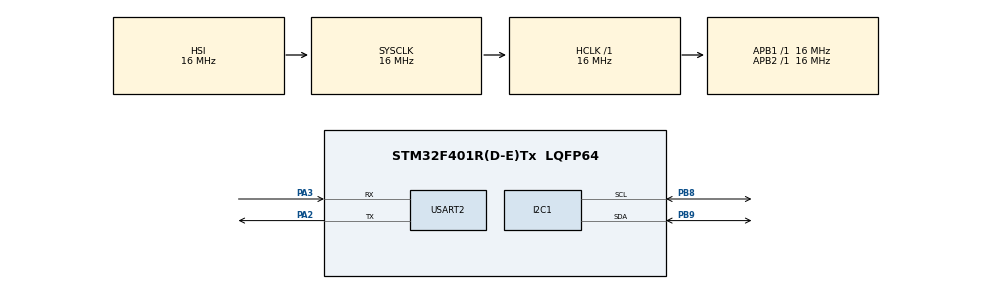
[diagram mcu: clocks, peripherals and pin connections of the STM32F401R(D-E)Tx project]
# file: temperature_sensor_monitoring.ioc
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I2C1.I2C_Mode=I2C_Fast
Mcu.Family=STM32F4
Mcu.Name=STM32F401R(D-E)Tx
Mcu.Package=LQFP64
NVIC.PriorityGroup=NVIC_PRIORITYGROUP_4
NVIC.RTC_WKUP_IRQn=true\:0\:0\:false\:false\:true\:true\:true\:true
PA0-WKUP.Mode=SYS_WakeUp0
PA0-WKUP.Signal=SYS_WKUP
PA2.Mode=Asynchronous
PA2.Signal=USART2_TX
PA3.Mode=Asynchronous
PA3.Signal=USART2_RX
PB8.Mode=I2C
PB8.Signal=I2C1_SCL
PB9.Mode=I2C
PB9.Signal=I2C1_SDA
ProjectManager.HeapSize=0x200
ProjectManager.StackSize=0x400
ProjectManager.TargetToolchain=STM32CubeIDE
RCC.AHBFreq_Value=16000000
RCC.APB1Freq_Value=16000000
RCC.APB2Freq_Value=16000000
RCC.CortexFreq_Value=16000000
RCC.HSE_VALUE=25000000
RCC.HSI_VALUE=16000000
RCC.LSE_VALUE=32768
RCC.SYSCLKFreq_VALUE=16000000
RCC.VCOOutputFreq_Value=192000000
RTC.Hours=23
RTC.Minutes=59
RTC.Seconds=59
RTC.WakeUpClock=RTC_WAKEUPCLOCK_CK_SPRE_17BITS
RTC.WakeUpCounter=0
USART2.VirtualMode=VM_ASYNC
VP_RTC_VS_RTC_Activate.Mode=RTC_Enabled
VP_RTC_VS_RTC_Calendar.Mode=RTC_Calendar
VP_RTC_VS_RTC_WakeUp_intern.Mode=WakeUp
board=custom

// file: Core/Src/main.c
/* USER CODE BEGIN Header */
/**
  ******************************************************************************
  * @file           : main.c
  * @brief          : Main program body
  ******************************************************************************
  * @attention
  *
  * <h2><center>&copy; Copyright (c) 2022 STMicroelectronics.
  * All rights reserved.</center></h2>
  *
  * This software component is licensed by ST under BSD 3-Clause license,
  * the "License"; You may not use this file except in compliance with the
  * License. You may obtain a copy of the License at:
  *                        opensource.org/licenses/BSD-3-Clause
  *
  ******************************************************************************
  */
/* USER CODE END Header */
#include "main.h"
#include "i2c.h"
#include "rtc.h"
#include "usart.h"
#include "gpio.h"

/* USER CODE BEGIN PTD */
#define MCP9808_ADRESS 				0x18 //adress of MCP9808
#define MCP9808_AMBIANT_REG_ADDR 	0x05 //adress of ambiant temperature register
#define MCP9808_RESOL_REG_ADRR		0x08 //adress of resolution register
#define MCP9808_SENS_CONF_REG_ADDR 	0x01 //adress of sensor configuration register
#define MCP9808_UPPER_REG_ADRR		0x02 //adress of upper temperature limit register
#define MCP9808_LOWER_REG_ADRR		0x03 //adress of lower temperature limit register
/* USER CODE END PTD */

void SystemClock_Config(void);

int main(void)
{
  /* USER CODE BEGIN 1 */
	HAL_StatusTypeDef status;

	uint16_t MCP9808_adress = MCP9808_ADRESS << 1; // 0b011000 = 0x18 on décale de 1 car code sur 7 bits
	uint8_t receive_buffer[2] = {0};//buffer ou on recoit les donnees de I2C
	uint8_t transmit_data = MCP9808_AMBIANT_REG_ADDR;
	uint8_t	register_config[3];

	/*Config de la precision (resolution) à 0.25°C*/
	register_config[0] = MCP9808_RESOL_REG_ADRR;
	register_config[1] = 0x01; //bit for 0.25°C resolution
	HAL_I2C_Master_Transmit(&hi2c1, MCP9808_adress, &register_config, (uint16_t) 2, HAL_MAX_DELAY);

	/*Config de l'hysteresis à 1.5°C*/
	register_config[0] = MCP9808_SENS_CONF_REG_ADDR;
	register_config[1] = 0b010; //bit for 1.5°C hysteresis
	HAL_I2C_Master_Transmit(&hi2c1, MCP9808_adress, &register_config, (uint16_t) 3, HAL_MAX_DELAY);

	/*Config lower temperature limit to 24°C*/
	register_config[0] = MCP9808_LOWER_REG_ADRR;//24 = 2^4 + 2^3
	register_config[1] = 0b01; // bit 8 correspondant a 2^4 °C
	register_config[2] = 0b10000000; //bit 7 correspondnat a 2^3 °C, bit 5 correspondant a 2^1°c et bit 4 a 2^0°C
	HAL_I2C_Master_Transmit(&hi2c1, MCP9808_adress, &register_config, (uint16_t) 3, HAL_MAX_DELAY);

	/*Config upper temperature limit to 27°C*/
	register_config[0] = MCP9808_UPPER_REG_ADRR;//27 = 2^4 + 2^3 + 2^1 + 2^0
	register_config[1] = 0b01; // bit 8 correspondant a 2^4 °C
	register_config[2] = 0b10110000; //bit 7 correspondnat a 2^3 °C
	HAL_I2C_Master_Transmit(&hi2c1, MCP9808_adress, &register_config, (uint16_t) 3, HAL_MAX_DELAY);

	/*Config alert*/
	register_config[0] = MCP9808_SENS_CONF_REG_ADDR;
	register_config[2] = 0b011010;//config alert mode
	HAL_I2C_Master_Transmit(&hi2c1, MCP9808_adress, &register_config, (uint16_t) 3, HAL_MAX_DELAY);

  /* USER CODE END 1 */

  /* MCU Configuration--------------------------------------------------------*/

  /* Reset of all peripherals, Initializes the Flash interface and the Systick. */
  HAL_Init();

  /* Configure the system clock */
  SystemClock_Config();

  /* Initialize all configured peripherals */
  MX_GPIO_Init();
  MX_I2C1_Init();
  MX_USART2_UART_Init();
  MX_RTC_Init();
  /* USER CODE BEGIN 2 */

  //Check if woken up from standby mode:
  if (__HAL_PWR_GET_FLAG(PWR_FLAG_SB) != RESET)
  {
      __HAL_PWR_CLEAR_FLAG(PWR_FLAG_SB);  // clear the flag

      char* message = "Waking up from the standby mode\r\n";
      HAL_UART_Transmit(&huart2, (uint8_t*) message, (uint16_t) strlen(message) , HAL_MAX_DELAY);

      HAL_PWR_DisableWakeUpPin(PWR_WAKEUP_PIN1);

      HAL_RTCEx_DeactivateWakeUpTimer(&hrtc);
  }

  //Clear the WU flag
  __HAL_PWR_CLEAR_FLAG(PWR_FLAG_WU);
  __HAL_RTC_WAKEUPTIMER_CLEAR_FLAG(&hrtc, RTC_FLAG_WUTF);

  HAL_PWR_EnableWakeUpPin(PWR_WAKEUP_PIN1);
  /**
   * activate rtc wake up from stand by mode
   * RTC_WAKEUPCLOCK_CK_SPRE_16BITS is a clock on 16 bits of frequence 1Hz
   * So we can set the WakeUpCounter to 10 as 10s
   */
  HAL_RTCEx_SetWakeUpTimer_IT(&hrtc, 10, RTC_WAKEUPCLOCK_CK_SPRE_16BITS);

  //---------------------------------------------------------------------------------------------------------------------------------
  // LECTURE DE LA TEMPERATURE

  status = HAL_I2C_Master_Transmit(&hi2c1, MCP9808_adress, &transmit_data, (uint16_t) 1, HAL_MAX_DELAY);

  if ( status != HAL_OK )
  {
	  char* message = "Error start\r\n";
	  HAL_UART_Transmit(&huart2, (uint8_t*) message, (uint16_t) strlen(message) , HAL_MAX_DELAY);
  }
  else
  {
	  status = HAL_I2C_Master_Receive(&hi2c1, MCP9808_adress, receive_buffer, (uint16_t) 2, HAL_MAX_DELAY);

	  if ( status != HAL_OK )
	  {
		  char* message = "Error master receive\r\n";
		  HAL_UART_Transmit(&huart2, (uint8_t*) message, (uint16_t) strlen(message), HAL_MAX_DELAY);
	  }
	  else
	  {
		  float temperature=0;
		  float f_temp[2]; //pour convertir les valeurs de receive_buffer en float

		  receive_buffer[0] &= 0x1F;
		  if((receive_buffer[0] & 0x10) == 0x10)
		  {
			  receive_buffer[0] &= 0x0F;
			  temperature -= 256;
		  }
		  f_temp[0] = receive_buffer[0];
		  f_temp[1] = receive_buffer[1];
		  temperature += (f_temp[0] * 16 + f_temp[1] / 16);

		  char message[256];
		  sprintf(message, "Temperature : %f\r\n", temperature);
		  HAL_UART_Transmit(&huart2, message,  strlen(message), HAL_MAX_DELAY);

	  }

  }

  //-------------------------------------------------------------------------------------------------------------------------------------------

  char* message = "Going to standby mode\r\n";
  HAL_UART_Transmit(&huart2, (uint8_t*) message, (uint16_t) strlen(message) , HAL_MAX_DELAY);

  HAL_PWR_EnterSTANDBYMode();

  /*Debug print because this part of the code should not be reached*/
  message = "After Standby Mode\r\n";
  HAL_UART_Transmit(&huart2, (uint8_t*) message, (uint16_t) strlen(message) , HAL_MAX_DELAY);

  /* USER CODE END 2 */

  /* Infinite loop */
  /* USER CODE BEGIN WHILE */
  while (1)
  {

	 //Useless since we use standby mode

//	  status = HAL_I2C_Master_Transmit(&hi2c1, MCP9808_adress, &transmit_data, (uint16_t) 1, HAL_MAX_DELAY);
//
//	  if ( status != HAL_OK )
//	  {
//		  char* message = "Error start\r\n";
//		  HAL_UART_Transmit(&huart2, (uint8_t*) message, (uint16_t) strlen(message) , HAL_MAX_DELAY);
//	  }
//	  else
//	  {
//		  status = HAL_I2C_Master_Receive(&hi2c1, MCP9808_adress, receive_buffer, (uint16_t) 2, HAL_MAX_DELAY);
//
//		  if ( status != HAL_OK )
//		  {
//			  char* message = "Error master receive\r\n";
//			  HAL_UART_Transmit(&huart2, (uint8_t*) message, (uint16_t) strlen(message), HAL_MAX_DELAY);
//		  }
//		  else
//		  {
//			  float temperature=0;
//			  float f_temp[2]; //pour convertir les valeurs de receive_buffer en float
//
//			  receive_buffer[0] &= 0x1F;
//			  if((receive_buffer[0] & 0x10) == 0x10)
//			  {
//				  receive_buffer[0] &= 0x0F;
//				  temperature -= 256;
//			  }
//			  f_temp[0] = receive_buffer[0];
//			  f_temp[1] = receive_buffer[1];
//			  temperature += (f_temp[0] * 16 + f_temp[1] / 16);
//
//			  char message[256];
//			  sprintf(message, "Temperature : %f\r\n", temperature);
//			  HAL_UART_Transmit(&huart2, message,  strlen(message), HAL_MAX_DELAY);
//
//		  }
//
//	  }

    /* USER CODE END WHILE */

  }
}

void SystemClock_Config(void)
{
  RCC_OscInitTypeDef RCC_OscInitStruct = {0};
  RCC_ClkInitTypeDef RCC_ClkInitStruct = {0};
  RCC_PeriphCLKInitTypeDef PeriphClkInitStruct = {0};

  /** Configure the main internal regulator output voltage
  */
  __HAL_RCC_PWR_CLK_ENABLE();
  __HAL_PWR_VOLTAGESCALING_CONFIG(PWR_REGULATOR_VOLTAGE_SCALE2);
  /** Initializes the RCC Oscillators according to the specified parameters
  * in the RCC_OscInitTypeDef structure.
  */
  RCC_OscInitStruct.OscillatorType = RCC_OSCILLATORTYPE_HSI|RCC_OSCILLATORTYPE_LSI;
  RCC_OscInitStruct.HSIState = RCC_HSI_ON;
  RCC_OscInitStruct.HSICalibrationValue = RCC_HSICALIBRATION_DEFAULT;
  RCC_OscInitStruct.LSIState = RCC_LSI_ON;
  RCC_OscInitStruct.PLL.PLLState = RCC_PLL_NONE;
  if (HAL_RCC_OscConfig(&RCC_OscInitStruct) != HAL_OK)
  {
    Error_Handler();
  }
  /** Initializes the CPU, AHB and APB buses clocks
  */
  RCC_ClkInitStruct.ClockType = RCC_CLOCKTYPE_HCLK|RCC_CLOCKTYPE_SYSCLK
                              |RCC_CLOCKTYPE_PCLK1|RCC_CLOCKTYPE_PCLK2;
  RCC_ClkInitStruct.SYSCLKSource = RCC_SYSCLKSOURCE_HSI;
  RCC_ClkInitStruct.AHBCLKDivider = RCC_SYSCLK_DIV1;
  RCC_ClkInitStruct.APB1CLKDivider = RCC_HCLK_DIV1;
  RCC_ClkInitStruct.APB2CLKDivider = RCC_HCLK_DIV1;

  if (HAL_RCC_ClockConfig(&RCC_ClkInitStruct, FLASH_LATENCY_0) != HAL_OK)
  {
    Error_Handler();
  }
  PeriphClkInitStruct.PeriphClockSelection = RCC_PERIPHCLK_RTC;
  PeriphClkInitStruct.RTCClockSelection = RCC_RTCCLKSOURCE_LSI;
  if (HAL_RCCEx_PeriphCLKConfig(&PeriphClkInitStruct) != HAL_OK)
  {
    Error_Handler();
  }
}

void Error_Handler(void)
{
  __disable_irq();
  while (1)
  {
  }
}

/************************ (C) COPYRIGHT STMicroelectronics *****END OF FILE****/
